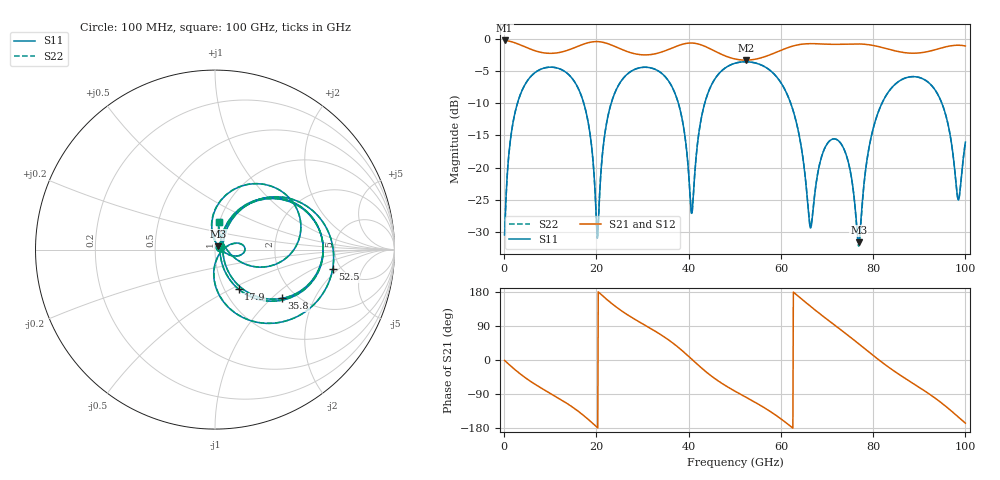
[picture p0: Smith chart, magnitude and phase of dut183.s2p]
! Touchstone file exported from HFSS 2026.1.0
!  File:  C:/ffzhzh/LocalFiles/Ansys_Project_Files/temp_train_TSV_RDL_183_1783653451_33328.aedt
!  Generated:  11:28:24 AM Jul 10, 2026
!  Design:  TSV_RDL
!  Project:  temp_train_TSV_RDL_183_1783653451_33328
! Variables:
!  h_bsmrdl = 2.05um
!  h_ox = 20um
!  h_rdl = 5um
!  h_sub = 78.99um
!  h_tmrdl = 3.11um
!  h_tsv = 78.99um
!  h_via = 3um
!  l_bsmrdl = 606.94um
!  l_sub = 2888.11um
!  l_tmrdl = 144.63um
!  m_sub = 200um
!  pitch = 43.34um
!  r_tsv = 5.2um
!  s_tmrdl = 10um
!  w_bsmrdl = 15.73um
!  w_sub = 500um
!  w_tmrdl = 13.86um
!  x_tsv_center1 = 151.56um
!  x_tsv_center2 = 774.23um
!  x_tsv_center3 = 932.72um
!  x_tsv_center4 = 1555.39um
!  x_tsv_center5 = 1713.88um
!  x_tsv_center6 = 2336.55um
# GHz S MA R 50.000000
! Terminal data exported
! Port[1] = TM_RDL1_1_T1
! Port[2] = TM_RDL5_1_T1
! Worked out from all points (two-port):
!   1000 points, 100 MHz to 100 GHz, reference 50 ohm
!   highest |S21| = -0.24 dB at 100 MHz (marker M1); lowest = -3.3 dB at 52.4 GHz (marker M2)
!   |S21| within 3 dB of the highest: start of sweep to 51.04 GHz; 53.68 GHz to end of sweep
!   lowest |S11| = -31.6 dB at 76.9 GHz (marker M3), VSWR 1.05, Z = 51.9 + j1.85 ohm
!   |S11| at or under -10 dB: 17.26 GHz to 23.21 GHz (5.95 GHz wide, 29.4 % of centre); 37.77 GHz to 43.49 GHz (5.72 GHz wide, 14.1 % of centre); 62.12 GHz to 81.91 GHz (19.79 GHz wide, 27.5 % of centre) (the widest 3 of 5)
!   |S22| runs from -32.2 to -3.6 dB; largest |S21 - S12| = 3.4e-14
!   S11 on the Smith chart (normalised r, x): 100 MHz: 1.06, +0.03; 17.9 GHz: 1.16, -0.55; 35.8 GHz: 1.69, -1.17; 52.5 GHz: 4.28, -1.66; 100 GHz: 0.99, +0.32
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0.1  0.02983 24.1  0.9729 -1.2  0.9729 -1.2  0.02983 24.1
! Gamma 0 0 0 0
! Port Impedance 50 0 50 0
1.8  0.211 61.6  0.9463 -19.8  0.9463 -19.8  0.211 61.6
4.8  0.459 37.7  0.8583 -48.6  0.8583 -48.6  0.459 37.7
16.8  0.3559 -50.2  0.8994 -142.3  0.8994 -142.3  0.3559 -50.2
17.9  0.2563 -59.2  0.9277 -153.3  0.9277 -153.3  0.2563 -59.1
20.2  0.02813 -4.4  0.9533 -178.1  0.9533 -178.1  0.02855 -4.2
24.1  0.3882 47.1  0.8708 141.7  0.8708 141.7  0.3882 47.1
33.4  0.5642 -18.4  0.7764 71.1  0.7764 71.1  0.5642 -18.4
35.8  0.4621 -36.0  0.8323 51.7  0.8323 51.7  0.4621 -36.0
40.7  0.04412 5.9  0.9291 1.8  0.9291 1.8  0.04367 6.0
43.8  0.345 51.1  0.8668 -31.5  0.8668 -31.5  0.345 51.2
50.1  0.6476 5.7  0.6978 -82.7  0.6978 -82.7  0.6477 5.7
52.4  0.6643 -8.8  0.6841 -98.1  0.6841 -98.1  0.6644 -8.7
52.5  0.6643 -9.4  0.6842 -98.8  0.6842 -98.8  0.6643 -9.3
61.6  0.3536 -74.3  0.8578 -170.2  0.8578 -170.2  0.3537 -74.1
66.7  0.03745 -12.2  0.9189 138.9  0.9189 138.9  0.03878 -13.2
72  0.1656 -2.3  0.9075 88.8  0.9075 88.8  0.1657 -2.8
76.9  0.02615 42.9  0.9141 42.5  0.9141 42.5  0.02445 42.8
83.4  0.3909 66.0  0.8309 -19.4  0.8309 -19.4  0.3908 66.2
93.3  0.4072 -5.6  0.8213 -99.4  0.8213 -99.4  0.4073 -5.5
98.4  0.0564 20.6  0.8933 -149.7  0.8933 -149.7  0.05696 20.7
100  0.1575 82.3  0.8815 -166.7  0.8815 -166.7  0.1576 82.2
